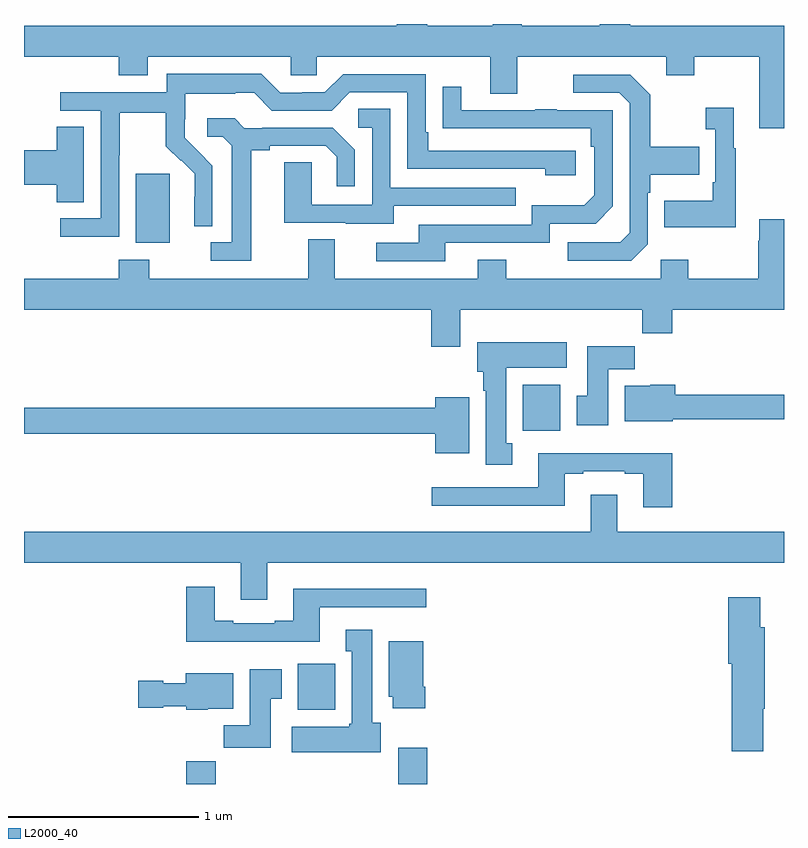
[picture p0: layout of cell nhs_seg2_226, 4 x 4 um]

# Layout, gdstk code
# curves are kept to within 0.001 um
import gdstk
lib = gdstk.Library(unit=1e-6, precision=1e-09)
def R(c, l, rs):  # rectangles x0, y0, x1, y1
    for r in rs: c.add(gdstk.rectangle(r[:2], r[2:], *l))
def P(c, l, *ps):  # polygons
    for p in ps: c.add(gdstk.Polygon(p, *l))
L2000_40 = (2000, 40)

nhs_seg2_226 = lib.new_cell('nhs_seg2_226')
R(nhs_seg2_226, L2000_40, [(121.853,651.8,122.009,651.92), (122.969,651.8,123.122,651.991), (122.441,652.19,122.638,652.432), (123.626,653.66,123.823,653.902), (121.589,654.65,121.768,655.011)])
P(nhs_seg2_226, L2000_40, [(125,655.792),(124.19,655.792),(124.19,655.8),(124.03,655.8),(124.03,655.792),(123.621,655.792),(123.621,655.8),(123.466,655.8),(123.466,655.792),(123.123,655.792),(123.123,655.8),(122.963,655.8),(122.963,655.792),(121,655.792),(121,655.628),(121.499,655.628),(121.499,655.529),(121.651,655.529),(121.651,655.628),(122.403,655.628),(122.403,655.53),(122.541,655.53),(122.541,655.628),(123.455,655.628),(123.455,655.434),(123.595,655.434),(123.595,655.628),(124.379,655.628),(124.379,655.529),(124.527,655.529),(124.527,655.628),(124.871,655.628),(124.871,655.251),(125,655.251)],
  [(121.5,655.108),(121.503,655.108),(121.503,655.332),(121.747,655.332),(121.747,655.157),(121.824,655.08),(121.827,655.083),(121.898,655.013),(121.898,654.89),(121.896,654.89),(121.896,654.736),(121.992,654.736),(121.992,655.054),(121.846,655.202),(121.846,655.299),(121.848,655.299),(121.848,655.433),(122.111,655.433),(122.111,655.437),(122.211,655.437),(122.304,655.344),(122.619,655.344),(122.715,655.44),(123.018,655.44),(123.018,655.038),(123.743,655.038),(123.743,655.004),(123.904,655.004),(123.904,655.134),(123.127,655.134),(123.127,655.231),(123.114,655.231),(123.114,655.536),(122.679,655.536),(122.583,655.44),(122.465,655.44),(122.465,655.437),(122.349,655.437),(122.249,655.537),(121.752,655.537),(121.752,655.44),(121.191,655.44),(121.191,655.344),(121.404,655.344),(121.404,654.777),(121.191,654.777),(121.191,654.679),(121.5,654.679)],
  [(124.284,654.642),(124.284,654.911),(124.297,654.911),(124.297,655.007),(124.553,655.007),(124.553,655.155),(124.297,655.155),(124.297,655.427),(124.191,655.533),(123.891,655.533),(123.891,655.437),(124.134,655.437),(124.188,655.383),(124.188,654.702),(124.137,654.651),(123.861,654.651),(123.861,654.555),(124.197,654.555)],
  [(123.217,654.648),(123.768,654.648),(123.768,654.75),(124.008,654.75),(124.098,654.84),(124.098,655.347),(123.803,655.347),(123.803,655.352),(123.691,655.352),(123.691,655.347),(123.301,655.347),(123.301,655.471),(123.205,655.471),(123.205,655.252),(123.982,655.251),(123.982,655.154),(124.002,655.154),(124.002,654.9),(123.949,654.847),(123.672,654.847),(123.672,654.744),(123.077,654.744),(123.077,654.648),(122.853,654.648),(122.853,654.552),(123.217,654.552)],
  [(124.747,655.147),(124.735,655.147),(124.735,655.36),(124.587,655.36),(124.587,655.247),(124.638,655.247),(124.638,654.967),(124.626,654.967),(124.626,654.871),(124.369,654.871),(124.369,654.731),(124.747,654.731)],
  [(122.947,654.843),(123.587,654.843),(123.587,654.939),(122.928,654.939),(122.928,655.355),(122.76,655.355),(122.76,655.254),(122.832,655.254),(122.832,654.849),(122.514,654.849),(122.514,655.073),(122.369,655.073),(122.369,654.753),(122.693,654.753),(122.693,654.749),(122.947,654.749)],
  [(122.197,655.136),(122.293,655.136),(122.293,655.158),(122.588,655.158),(122.645,655.101),(122.645,654.945),(122.742,654.945),(122.742,655.138),(122.626,655.254),(122.254,655.254),(122.254,655.251),(122.16,655.251),(122.108,655.303),(121.965,655.303),(121.965,655.206),(122.046,655.206),(122.093,655.159),(122.093,654.651),(121.983,654.651),(121.983,654.555),(122.197,654.555)],
  [(121.315,655.259),(121.172,655.259),(121.172,655.136),(121,655.136),(121,654.953),(121.172,654.953),(121.172,654.862),(121.315,654.862)],
  [(123.295,654.296),(124.255,654.296),(124.255,654.172),(124.412,654.172),(124.412,654.296),(125,654.296),(125,654.772),(124.871,654.772),(124.871,654.659),(124.864,654.659),(124.864,654.46),(124.497,654.46),(124.497,654.559),(124.35,654.559),(124.35,654.46),(123.537,654.46),(123.537,654.559),(123.389,654.559),(123.389,654.46),(122.635,654.46),(122.635,654.668),(122.495,654.668),(122.495,654.46),(121.659,654.46),(121.659,654.559),(121.499,654.559),(121.499,654.46),(121,654.46),(121,654.296),(123.143,654.296),(123.143,654.102),(123.295,654.102)],
  [(123.571,653.594),(123.538,653.594),(123.538,653.99),(123.856,653.99),(123.856,654.124),(123.386,654.124),(123.386,653.97),(123.416,653.97),(123.416,653.87),(123.431,653.87),(123.431,653.481),(123.571,653.481)],
  [(124.075,653.984),(124.214,653.984),(124.214,654.103),(123.965,654.103),(123.965,653.844),(123.908,653.844),(123.908,653.688),(124.075,653.688)],
  [(124.414,653.719),(125,653.719),(125,653.848),(124.427,653.848),(124.427,653.902),(124.296,653.902),(124.296,653.896),(124.163,653.896),(124.163,653.708),(124.414,653.708)],
  [(123.343,653.836),(123.164,653.836),(123.164,653.78),(121,653.78),(121,653.644),(123.164,653.644),(123.164,653.54),(123.343,653.54)],
  [(124.412,653.542),(123.707,653.542),(123.707,653.361),(123.147,653.361),(123.147,653.264),(123.847,653.264),(123.847,653.433),(123.943,653.433),(123.943,653.445),(124.163,653.445),(124.163,653.433),(124.259,653.433),(124.259,653.256),(124.412,653.256)],
  [(122.281,652.964),(125,652.964),(125,653.128),(124.123,653.128),(124.123,653.323),(123.983,653.323),(123.983,653.128),(121,653.128),(121,652.964),(122.141,652.964),(122.141,652.77),(122.281,652.77)],
  [(122.557,652.731),(123.118,652.731),(123.118,652.828),(122.417,652.828),(122.417,652.66),(122.321,652.66),(122.321,652.647),(122.101,652.647),(122.101,652.66),(122.005,652.66),(122.005,652.837),(121.853,652.837),(121.853,652.55),(122.557,652.55)],
  [(124.891,652.195),(124.899,652.195),(124.899,652.626),(124.876,652.626),(124.876,652.783),(124.706,652.783),(124.706,652.434),(124.724,652.434),(124.724,651.972),(124.891,651.972)],
  [(122.878,652.122),(122.833,652.122),(122.833,652.612),(122.693,652.612),(122.693,652.499),(122.726,652.499),(122.726,652.116),(122.713,652.116),(122.713,652.102),(122.409,652.102),(122.409,651.968),(122.878,651.968)],
  [(123.113,652.312),(123.1,652.312),(123.1,652.552),(122.921,652.552),(122.921,652.26),(122.942,652.26),(122.942,652.2),(123.113,652.2)],
  [(122.299,652.249),(122.356,652.249),(122.356,652.405),(122.189,652.405),(122.189,652.108),(122.05,652.108),(122.05,651.99),(122.299,651.99)],
  [(121.968,652.196),(122.101,652.196),(122.101,652.384),(121.85,652.384),(121.85,652.33),(121.734,652.33),(121.734,652.343),(121.602,652.343),(121.602,652.201),(121.734,652.201),(121.734,652.208),(121.854,652.208),(121.854,652.19),(121.968,652.19)])

lib.write_gds('nhs_seg2_226.gds')
